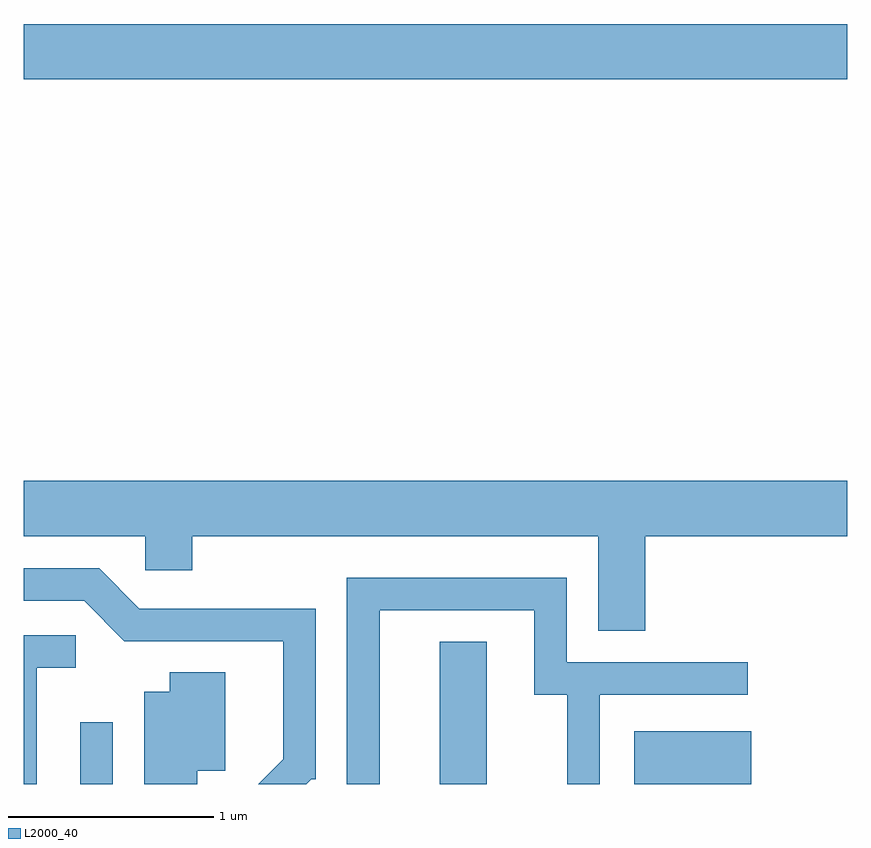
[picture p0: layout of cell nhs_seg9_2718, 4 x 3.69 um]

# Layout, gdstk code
import gdstk
lib = gdstk.Library(unit=1e-6, precision=1e-09)
def R(c, l, rs):  # rectangles x0, y0, x1, y1
    for r in rs: c.add(gdstk.rectangle(r[:2], r[2:], *l))
def P(c, l, *ps):  # polygons
    for p in ps: c.add(gdstk.Polygon(p, *l))
L2000_40 = (2000, 40)

nhs_seg9_2718 = lib.new_cell('nhs_seg9_2718')
R(nhs_seg9_2718, L2000_40, [(265.886,1948.432,266.044,1948.733), (267.631,1948.432,267.859,1949.124), (268.576,1948.432,269.144,1948.689), (265.611,1951.856,269.611,1952.124)])
P(nhs_seg9_2718, L2000_40, [(268.629,1949.636),(269.611,1949.636),(269.611,1949.904),(265.611,1949.904),(265.611,1949.636),(266.201,1949.636),(266.201,1949.471),(266.429,1949.471),(266.429,1949.636),(268.401,1949.636),(268.401,1949.176),(268.629,1949.176)],
  [(267.007,1948.456),(267.029,1948.456),(267.029,1949.284),(266.172,1949.284),(265.977,1949.479),(265.611,1949.479),(265.611,1949.321),(265.904,1949.321),(266.099,1949.126),(266.871,1949.126),(266.871,1948.552),(266.751,1948.432),(266.983,1948.432)],
  [(267.339,1949.276),(268.091,1949.276),(268.091,1948.866),(268.251,1948.866),(268.251,1948.432),(268.409,1948.432),(268.409,1948.866),(269.128,1948.866),(269.128,1949.024),(268.249,1949.024),(268.249,1949.434),(267.181,1949.434),(267.181,1948.432),(267.339,1948.432)],
  [(265.674,1948.996),(265.863,1948.996),(265.863,1949.154),(265.611,1949.154),(265.611,1948.432),(265.674,1948.432)],
  [(266.454,1948.496),(266.589,1948.496),(266.589,1948.974),(266.321,1948.974),(266.321,1948.879),(266.196,1948.879),(266.196,1948.432),(266.454,1948.432)])

lib.write_gds('nhs_seg9_2718.gds')
